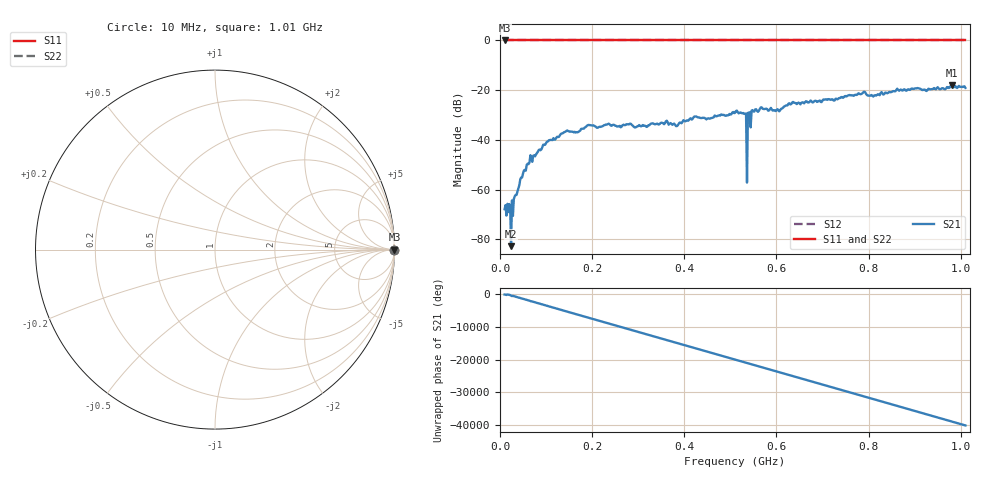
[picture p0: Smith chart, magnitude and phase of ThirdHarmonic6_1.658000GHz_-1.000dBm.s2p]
! 8/16/2025 7:51:55 PM
! C:\ANRITSUVNA\TEMP\TEMP.S2P
! CHANNEL.1
! TR.MEASUREMENT
! RAW.DATA
! RF.CORRECTION.OFF
! AVERAGING.OFF
! IF.BANDWIDTH: 5KHZ
! SWEEPTYPE:  FREQ.SWEEP(Linear)
! Reference Plane Port Info
! PORT:  PORT1  PORT2
! DISTANCE:  0  m  0  m
! TIME:  0  s  0  s
! PHASE.OFFSET:  0  deg.  0  deg.
! LOSS:  0  dB  0  dB
! REF.LOSS:  0  dB  0  dB
! REF.FREQ:  0  Hz  0  Hz
! Power Info
! POWER:  -20  dBm  -20  dBm
! EFF.POWER:  -20  dBm  -20  dBm
! SOURCE.ATTEN:  0  dB  0  dB
! TEST.ATTEN:  0  dB  0  dB
# GHZ S RI R 50.0
! FREQ.GHZ  S11RE  S11IM  S21RE  S21IM  S12RE  S12IM  S22RE  S22IM
!; PortSelection: Port_12
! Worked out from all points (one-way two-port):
!   501 points, 10 MHz to 1.01 GHz, reference 50 ohm
!   highest |S21| = -18.08 dB at 980 MHz (marker M1); lowest = -82.7 dB at 24 MHz (marker M2)
!   lowest |S11| = 0.0 dB at 10 MHz (marker M3)
!   |S11| at or under -10 dB: nowhere
!   |S22| runs from 0.0 to 0.0 dB; largest |S21 - S12| = 1.1
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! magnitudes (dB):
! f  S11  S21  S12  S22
! 10 MHz  0.0  -67.8  0.0  0.0
! 24 MHz  0.0  -82.7  0.0  0.0
! 48 MHz  0.0  -55.1  0.0  0.0
! 70 MHz  0.0  -48.8  0.0  0.0
! 106 MHz  0.0  -40.2  0.0  0.0
! 178 MHz  0.0  -35.5  0.0  0.0
! 344 MHz  0.0  -33.8  0.0  0.0
! 384 MHz  0.0  -34.4  0.0  0.0
! 424 MHz  0.0  -30.6  0.0  0.0
! 452 MHz  0.0  -31.3  0.0  0.0
! 510 MHz  0.0  -29.1  0.0  0.0
! 530 MHz  0.0  -29.5  0.0  0.0
! 532 MHz  0.0  -29.5  0.0  0.0
! 540 MHz  0.0  -29.0  0.0  0.0
! 542 MHz  0.0  -28.9  0.0  0.0
! 550 MHz  0.0  -28.5  0.0  0.0
! 602 MHz  0.0  -27.6  0.0  0.0
! 632 MHz  0.0  -25.6  0.0  0.0
! 678 MHz  0.0  -24.9  0.0  0.0
! 844 MHz  0.0  -20.8  0.0  0.0
! 980 MHz  0.0  -18.1  0.0  0.0
! 1.01 GHz  0.0  -19.0  0.0  0.0
